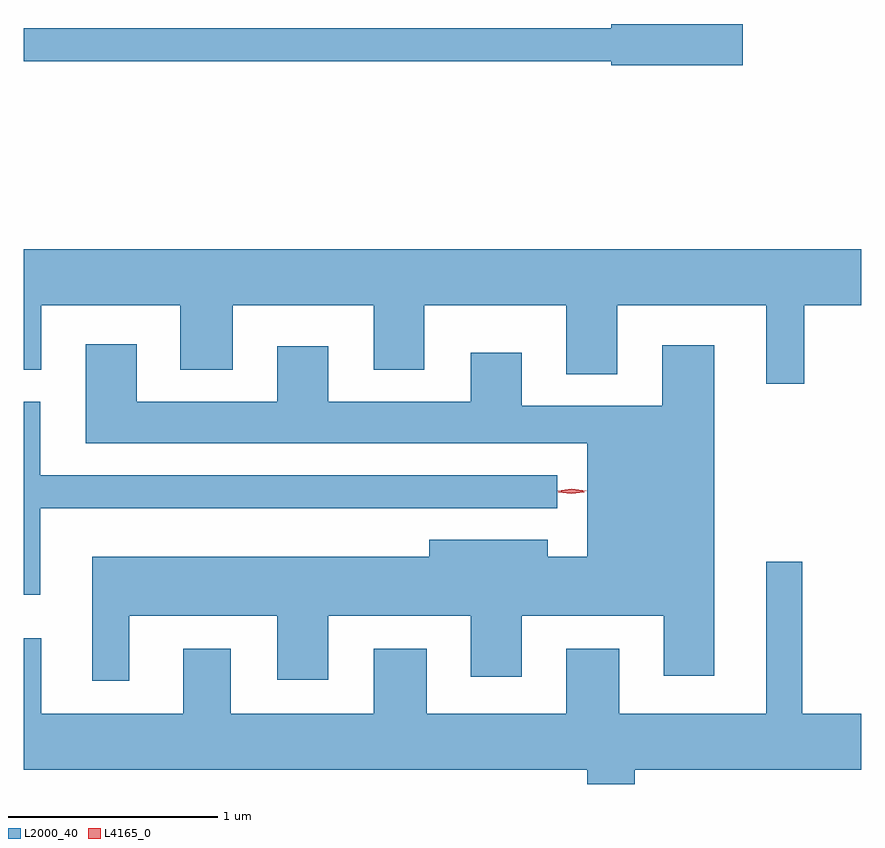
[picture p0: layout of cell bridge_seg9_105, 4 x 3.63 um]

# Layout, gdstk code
import gdstk
lib = gdstk.Library(unit=1e-6, precision=1e-09)
def P(c, l, *ps):  # polygons
    for p in ps: c.add(gdstk.Polygon(p, *l))
L2000_40 = (2000, 40)
L4165_0 = (4165, 0)

bridge_seg9_105 = lib.new_cell('bridge_seg9_105')
P(bridge_seg9_105, L2000_40, [(1865.724,1948.759),(1865.096,1948.759),(1865.096,1948.739),(1862.29,1948.739),(1862.29,1948.581),(1865.096,1948.581),(1865.096,1948.561),(1865.724,1948.561)],
  [(1866.019,1947.416),(1866.29,1947.416),(1866.29,1947.684),(1862.29,1947.684),(1862.29,1947.106),(1862.374,1947.106),(1862.374,1947.416),(1863.036,1947.416),(1863.036,1947.106),(1863.289,1947.106),(1863.289,1947.416),(1863.961,1947.416),(1863.961,1947.106),(1864.204,1947.106),(1864.204,1947.416),(1864.881,1947.416),(1864.881,1947.086),(1865.124,1947.086),(1865.124,1947.416),(1865.836,1947.416),(1865.836,1947.041),(1866.019,1947.041)],
  [(1862.794,1945.931),(1863.501,1945.931),(1863.501,1945.626),(1863.744,1945.626),(1863.744,1945.931),(1864.426,1945.931),(1864.426,1945.641),(1864.669,1945.641),(1864.669,1945.931),(1865.346,1945.931),(1865.346,1945.646),(1865.589,1945.646),(1865.589,1947.224),(1865.341,1947.224),(1865.341,1946.934),(1864.669,1946.934),(1864.669,1947.189),(1864.426,1947.189),(1864.426,1946.954),(1863.744,1946.954),(1863.744,1947.219),(1863.501,1947.219),(1863.501,1946.954),(1862.829,1946.954),(1862.829,1947.229),(1862.586,1947.229),(1862.586,1946.756),(1864.981,1946.756),(1864.981,1946.214),(1864.794,1946.214),(1864.794,1946.294),(1864.226,1946.294),(1864.226,1946.214),(1862.616,1946.214),(1862.616,1945.621),(1862.794,1945.621)],
  [(1862.369,1946.446),(1864.838,1946.446),(1864.838,1946.604),(1862.369,1946.604),(1862.369,1946.954),(1862.29,1946.954),(1862.29,1946.031),(1862.369,1946.031)],
  [(1865.209,1945.196),(1866.29,1945.196),(1866.29,1945.464),(1866.009,1945.464),(1866.009,1946.189),(1865.836,1946.189),(1865.836,1945.464),(1865.134,1945.464),(1865.134,1945.774),(1864.881,1945.774),(1864.881,1945.464),(1864.214,1945.464),(1864.214,1945.774),(1863.961,1945.774),(1863.961,1945.464),(1863.279,1945.464),(1863.279,1945.774),(1863.051,1945.774),(1863.051,1945.464),(1862.374,1945.464),(1862.374,1945.824),(1862.29,1945.824),(1862.29,1945.196),(1864.981,1945.196),(1864.981,1945.128),(1865.209,1945.128)])
P(bridge_seg9_105, L4165_0, [(1864.908,1946.519),(1864.84,1946.528),(1864.839,1946.528),(1864.84,1946.529),(1864.908,1946.539),(1864.977,1946.53),(1864.977,1946.529),(1864.977,1946.529)],
  [(1864.905,1946.514),(1864.843,1946.523),(1864.843,1946.524),(1864.843,1946.524),(1864.905,1946.534),(1864.967,1946.524),(1864.968,1946.524),(1864.967,1946.523)])

lib.write_gds('bridge_seg9_105.gds')
